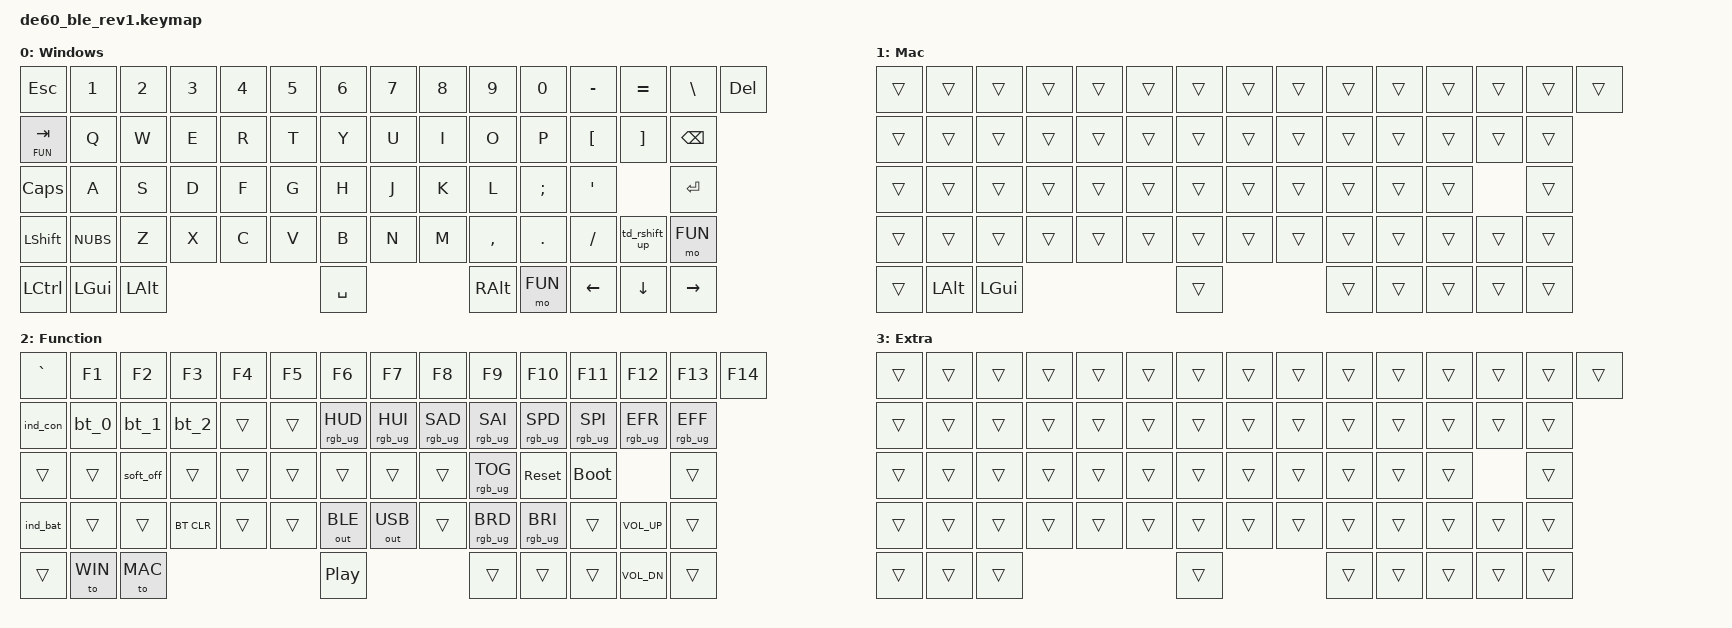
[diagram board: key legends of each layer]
/*
 * Copyright (c) 2025 Deemen17 Works
 *
 * SPDX-License-Identifier: MIT
 */

#include <behaviors.dtsi>
#include <dt-bindings/zmk/keys.h>
#include <dt-bindings/zmk/bt.h>
#include <dt-bindings/zmk/ext_power.h>
#include <dt-bindings/zmk/rgb.h>
#include <dt-bindings/zmk/outputs.h>

#include <behaviors/rgbled_widget.dtsi>

#define BT0 BT_SEL 0
#define BT1 BT_SEL 1
#define BT2 BT_SEL 2
#define BTC BT_CLR 

#define OUTUSB &out OUT_USB
#define OUTBLE &out OUT_BLE

#define SOOFF &soft_off

#define UGTOG &rgb_ug RGB_TOG
#define UGBRD &rgb_ug RGB_BRD
#define UGBRI &rgb_ug RGB_BRI
#define UGHUD &rgb_ug RGB_HUD
#define UGHUI &rgb_ug RGB_HUI
#define UGSAI &rgb_ug RGB_SAI
#define UGSAD &rgb_ug RGB_SAD
#define UGSPI &rgb_ug RGB_SPI
#define UGSPD &rgb_ug RGB_SPD
#define UGEFF &rgb_ug RGB_EFF
#define UGEFR &rgb_ug RGB_EFR

#define VOLUP &kp C_VOL_UP
#define VOLDN &kp C_VOL_DN

#define RESET &sys_reset
#define BOTLR &bootloader

#define FUN_CLCK &lt FUN CAPS
#define FUN_TAB &lt FUN TAB

#define WIN 0
#define MAC 1
#define FUN 2
#define EXT 3

&mt {
    tapping-term-ms = <200>; 
};

&soft_off {
    hold-time-ms = <0>; // Only turn off it the key is held for 2 seconds or longer.
};


/ {

    macros {

        de60_by_deemen17: select_deemen17_for_unlimited {
            display-name = "@ DE60 BLE REV1 by DEEMEN17 WORKS";
            compatible = "zmk,behavior-macro";
            #binding-cells = <0>;
            bindings
                = <&kp D>,
                  <&kp E>,
                  <&kp E>,
                  <&kp M>,
                  <&kp E>,
                  <&kp N>,
                  <&kp N1>,
                  <&kp N7>;
        };

        tutor_0: select_tutorial_0 {
            display-name = "!!! Select Key Press to choose keyboard input !!!";
            compatible = "zmk,behavior-macro";
            #binding-cells = <0>;
            bindings
                = <&kp D>,
                  <&kp E>,
                  <&kp E>,
                  <&kp M>,
                  <&kp E>,
                  <&kp N>,
                  <&kp N1>,
                  <&kp N7>;
        };

        bt_0: select_bluetooth_0 {
            display-name = "Select Bluetooth Profile 0";
            compatible = "zmk,behavior-macro";
            #binding-cells = <0>;
            bindings
                = <&out OUT_BLE>,
                  <&bt BT_SEL 0>;
        };

        bt_1: select_bluetooth_1 {
            display-name = "Select Bluetooth Profile 1";
            compatible = "zmk,behavior-macro";
            #binding-cells = <0>;
            bindings
                = <&out OUT_BLE>,
                  <&bt BT_SEL 1>;
        };

        bt_2: select_bluetooth_2 {
            display-name = "Select Bluetooth Profile 2";
            compatible = "zmk,behavior-macro";
            #binding-cells = <0>;
            bindings
                = <&out OUT_BLE>,
                  <&bt BT_SEL 2>;
        };

        bt_3: select_bluetooth_3 {
            display-name = "Select Bluetooth Profile 3";
            compatible = "zmk,behavior-macro";
            #binding-cells = <0>;
            bindings
                = <&out OUT_BLE>,
                  <&bt BT_SEL 3>;
        };

        bt_4: select_bluetooth_4 {
            display-name = "Select Bluetooth Profile 4";
            compatible = "zmk,behavior-macro";
            #binding-cells = <0>;
            bindings
                = <&out OUT_BLE>,
                  <&bt BT_SEL 4>;
        };
    };

    behaviors {
        td_rshift_up: tap_dance_rshift_up {
            compatible = "zmk,behavior-tap-dance";
            #binding-cells = <0>;
            tapping-term-ms = <200>;
            bindings = <&kp UP>, <&mt RSHFT UP>;
        };
    };

    keymap {
        compatible = "zmk,keymap";

        base {
            label = "Windows";
            bindings = <
&kp ESC   &kp N1   &kp N2  &kp N3  &kp N4  &kp N5  &kp N6  &kp N7  &kp N8  &kp N9    &kp N0   &kp MINUS &kp EQUAL &kp BSLH  &kp DEL 
FUN_TAB   &kp Q    &kp W   &kp E   &kp R   &kp T   &kp Y   &kp U   &kp I   &kp O     &kp P    &kp LBKT  &kp RBKT  &kp BSPC  
&kp CAPS  &kp A    &kp S   &kp D   &kp F   &kp G   &kp H   &kp J   &kp K   &kp L     &kp SEMI &kp SQT             &kp ENTER 
&kp LSHFT &kp NUBS &kp Z   &kp X   &kp C   &kp V   &kp B   &kp N   &kp M   &kp COMMA &kp DOT  &kp FSLH  &td_rshift_up &mo FUN
&kp LCTRL &kp LGUI &kp LALT                        &kp SPACE               &kp RALT  &mo FUN  &kp LEFT  &kp DOWN  &kp RIGHT
            >;
        };

        layer_mac {
            label = "Mac";
            bindings = < 
&trans  &trans  &trans  &trans &trans  &trans  &trans  &trans  &trans  &trans  &trans  &trans  &trans  &trans  &trans
&trans  &trans  &trans  &trans &trans  &trans  &trans  &trans  &trans  &trans  &trans  &trans  &trans  &trans
&trans  &trans  &trans  &trans &trans  &trans  &trans  &trans  &trans  &trans  &trans  &trans          &trans
&trans  &trans  &trans  &trans &trans  &trans  &trans  &trans  &trans  &trans  &trans  &trans  &trans  &trans
&trans  &kp LALT &kp LGUI                      &trans                  &trans  &trans  &trans  &trans  &trans
            >;
        };

        layer_function {
            label = "Function";
            bindings = <
&kp GRAVE  &kp F1  &kp F2  &kp F3  &kp F4  &kp F5  &kp F6  &kp F7 &kp F8  &kp F9  &kp F10 &kp F11 &kp F12 &kp F13 &kp F14
&ind_con   &bt_0   &bt_1   &bt_2   &trans  &trans  UGHUD   UGHUI  UGSAD   UGSAI   UGSPD   UGSPI   UGEFR   UGEFF
&trans     &trans  SOOFF   &trans  &trans  &trans  &trans  &trans &trans  UGTOG   RESET   BOTLR           &trans
&ind_bat   &trans  &trans  &bt BTC &trans  &trans  OUTBLE  OUTUSB &trans  UGBRD   UGBRI   &trans  VOLUP   &trans
&trans     &to WIN &to MAC                         &kp C_PP               &trans  &trans  &trans  VOLDN   &trans
            >;
        };

        layer_extra {
            label = "Extra";
            bindings = < 
&trans  &trans  &trans  &trans &trans  &trans  &trans  &trans  &trans  &trans  &trans  &trans  &trans  &trans  &trans
&trans  &trans  &trans  &trans &trans  &trans  &trans  &trans  &trans  &trans  &trans  &trans  &trans  &trans
&trans  &trans  &trans  &trans &trans  &trans  &trans  &trans  &trans  &trans  &trans  &trans          &trans
&trans  &trans  &trans  &trans &trans  &trans  &trans  &trans  &trans  &trans  &trans  &trans  &trans  &trans
&trans  &trans  &trans                         &trans                  &trans  &trans  &trans  &trans  &trans
            >;
        };
    };

};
